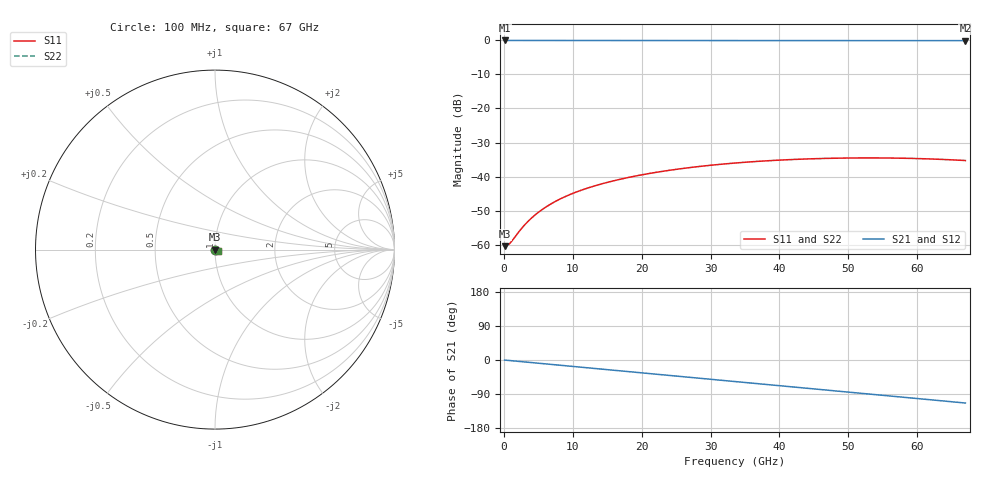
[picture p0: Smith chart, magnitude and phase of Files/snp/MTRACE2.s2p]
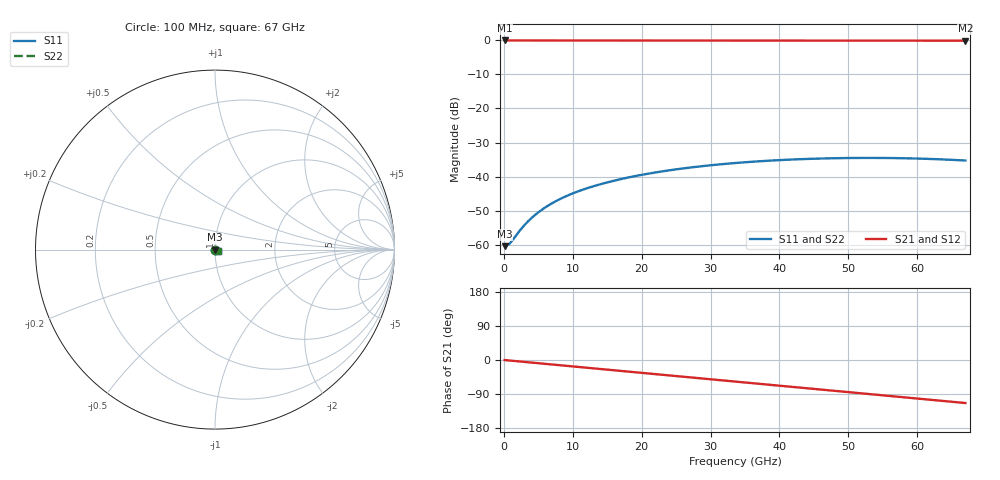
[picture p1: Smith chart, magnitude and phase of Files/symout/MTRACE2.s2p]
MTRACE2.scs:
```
simulator lang=local
global 0

NPORT0 1 0 2 0 nport file="E:\Saves\pycharm\HowToElementBuilder\Code\Files\snp\MTRACE2.s2p"
PORT0 1 0 port r=50 num=1 type=sine rptstart=1 rpttimes=0
PORT1 2 0 port r=50 num=2 type=sine rptstart=1 rpttimes=0

SPSweep sp start=100000000 stop=67000000000 step=669000000.0 file="E:\Saves\pycharm\HowToElementBuilder\Code\Files\symout\MTRACE2.s2p"

DEFAULT_OPTIONS options tnom=27 temp=27  acout=0 fast_spice=0 reltol=1.000000e-003 rawfmt=nutascii
```
Files/snp/MTRACE2.s2p:
! Created with skrf (http://scikit-rf.org).
# Hz S RI R 50.0
!freq ReS11 ImS11 ReS21 ImS21 ReS12 ImS12 ReS22 ImS22
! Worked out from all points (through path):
!   100 points, 100 MHz to 67 GHz, reference 50 ohm
!   highest |S21| = -0.01 dB at 100 MHz (marker M1); lowest = -0.1 dB at 67 GHz (marker M2)
!   group delay of S21, straight-line fit = 4.71 ps
!   lowest |S11| = -60.5 dB at 100 MHz (marker M3), VSWR 1.00, Z = 50.1 + j0.0053 ohm
!   |S11| at or under -10 dB: start of sweep to end of sweep
!   |S22| runs from -60.5 to -34.5 dB; largest |S21 - S12| = 5.4e-14
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1e8  0.000946 5.29e-05  0.999 -0.00296  0.999 -0.00296  0.000946 5.29e-05
7.757576e8  0.000929 0.000411  0.9988 -0.0229  0.9988 -0.0229  0.000929 0.000411
3.478788e9  0.00121 0.00182  0.9934 -0.1026  0.9934 -0.1026  0.00121 0.00182
5.506061e9  0.00159 0.00283  0.9852 -0.1619  0.9852 -0.1619  0.00159 0.00283
1.091212e10  0.00322 0.00521  0.9461 -0.3165  0.9461 -0.3165  0.00322 0.00521
2.037273e10  0.00725 0.00794  0.8211 -0.565  0.8211 -0.565  0.00725 0.00794
3.388788e10  0.0141 0.00728  0.5357 -0.8389  0.5357 -0.8389  0.0141 0.00728
4.267273e10  0.0174 0.0041  0.3019 -0.9475  0.3019 -0.9475  0.0174 0.0041
5.078182e10  0.0187 6.87e-06  0.0681 -0.9913  0.0681 -0.9913  0.0187 6.87e-06
5.889091e10  0.018 -0.00425  -0.1692 -0.9784  -0.1692 -0.9784  0.018 -0.00425
6.7e10  0.0154 -0.0077  -0.3964 -0.9095  -0.3964 -0.9095  0.0154 -0.0077
Files/symout/MTRACE2.s2p:
! Touchstone Ver. 1.0
! Number of ports is 2
# Hz  S RI  R  50
! SCATTERING PARAMETERS  :
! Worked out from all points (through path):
!   101 points, 100 MHz to 67 GHz, reference 50 ohm
!   highest |S21| = -0.01 dB at 100 MHz (marker M1); lowest = -0.1 dB at 67 GHz (marker M2)
!   group delay of S21, straight-line fit = 4.71 ps
!   lowest |S11| = -60.5 dB at 100 MHz (marker M3), VSWR 1.00, Z = 50.1 + j0.0053 ohm
!   |S11| at or under -10 dB: start of sweep to end of sweep
!   |S22| runs from -60.5 to -34.5 dB; largest |S21 - S12| = 0
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1e8  0.000946 5.29e-05  0.999 -0.00296  0.999 -0.00296  0.000946 5.29e-05
7.69e8  0.000929 0.000407  0.9988 -0.0227  0.9988 -0.0227  0.000929 0.000407
3.445e9  0.0012 0.0018  0.9935 -0.1016  0.9935 -0.1016  0.0012 0.0018
5.452e9  0.00158 0.0028  0.9855 -0.1603  0.9855 -0.1603  0.00158 0.0028
1.0804e10  0.00318 0.00517  0.9471 -0.3135  0.9471 -0.3135  0.00318 0.00517
2.017e10  0.00715 0.00791  0.8244 -0.5601  0.8244 -0.5601  0.00715 0.00791
3.355e10  0.014 0.00736  0.544 -0.8335  0.544 -0.8335  0.014 0.00736
4.2247e10  0.0173 0.00429  0.3138 -0.9436  0.3138 -0.9436  0.0173 0.00429
5.0275e10  0.0187 0.000277  0.083 -0.9902  0.083 -0.9902  0.0187 0.000277
5.8303e10  0.0181 -0.00395  -0.1521 -0.9812  -0.1521 -0.9812  0.0181 -0.00395
6.7e10  0.0154 -0.0077  -0.3964 -0.9095  -0.3964 -0.9095  0.0154 -0.0077
